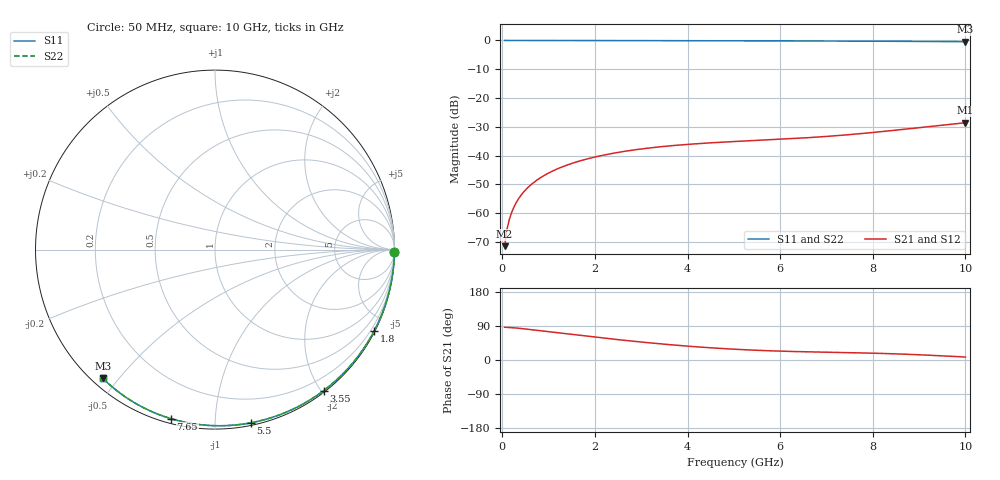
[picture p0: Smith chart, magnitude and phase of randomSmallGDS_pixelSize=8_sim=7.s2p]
! freq	dB(S11)	phase(S11)	dB(S12)	phase(S12)
!  dB(S21)	phase(S21)	dB(S22)	phase(S22)
!S-par simulation data
#  GHz  S  DB  R 50
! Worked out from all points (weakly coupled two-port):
!   200 points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, 50 MHz to 10 GHz, reference 50 ohm
!   highest |S21| = -28.57 dB at 10 GHz (marker M1); lowest = -71.4 dB at 50 MHz (marker M2)
!   lowest |S11| = -0.4 dB at 10 GHz (marker M3), VSWR 40.00, Z = 1.51 - j22.7 ohm
!   |S11| at or under -10 dB: nowhere
!   |S22| runs from -0.4 to 0.0 dB; largest |S21 - S12| = 0
!   S11 on the Smith chart (normalised r, x): 50 MHz: open; 1.8 GHz: 0.04, -4.14; 3.55 GHz: 0.02, -2.03; 5.5 GHz: 0.02, -1.23; 7.65 GHz: 0.02, -0.77; 10 GHz: 0.03, -0.45
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0.05  -0.00 -0.8  -71.43 86.5  -71.43 86.5  -0.00 -0.8
0.1  -0.00 -1.5  -65.68 86.1  -65.68 86.1  -0.00 -1.5
0.15  -0.00 -2.3  -62.26 85.9  -62.26 85.9  -0.00 -2.3
0.2  -0.00 -3.1  -59.80 85.5  -59.80 85.5  -0.00 -3.1
0.25  -0.00 -3.8  -57.89 85.0  -57.89 85.0  -0.00 -3.8
0.35  -0.00 -5.4  -54.99 83.8  -54.99 83.8  -0.00 -5.4
0.5  -0.01 -7.7  -51.93 81.8  -51.93 81.8  -0.01 -7.7
0.7  -0.01 -10.7  -49.05 79.0  -49.05 79.0  -0.01 -10.7
1  -0.02 -15.2  -46.03 74.6  -46.03 74.6  -0.02 -15.2
1.35  -0.03 -20.5  -43.55 69.5  -43.55 69.5  -0.03 -20.5
1.75  -0.03 -26.4  -41.49 63.8  -41.49 63.8  -0.03 -26.4
1.8  -0.03 -27.2  -41.28 63.1  -41.28 63.1  -0.03 -27.2
2.5  -0.05 -37.4  -38.87 53.7  -38.87 53.7  -0.05 -37.4
3.4  -0.07 -50.3  -36.94 42.8  -36.94 42.8  -0.07 -50.3
3.55  -0.07 -52.4  -36.70 41.2  -36.70 41.2  -0.07 -52.4
4.3  -0.09 -62.6  -35.75 33.9  -35.75 33.9  -0.09 -62.6
5.05  -0.11 -72.6  -35.06 28.2  -35.06 28.2  -0.11 -72.6
5.5  -0.13 -78.4  -34.71 25.6  -34.71 25.6  -0.13 -78.4
6.7  -0.18 -93.3  -33.66 21.3  -33.66 21.3  -0.18 -93.3
7.65  -0.23 -104.6  -32.48 19.0  -32.48 19.0  -0.23 -104.6
8.35  -0.28 -112.6  -31.39 16.8  -31.39 16.8  -0.28 -112.6
10  -0.43 -131.1  -28.57 7.8  -28.57 7.8  -0.43 -131.1
